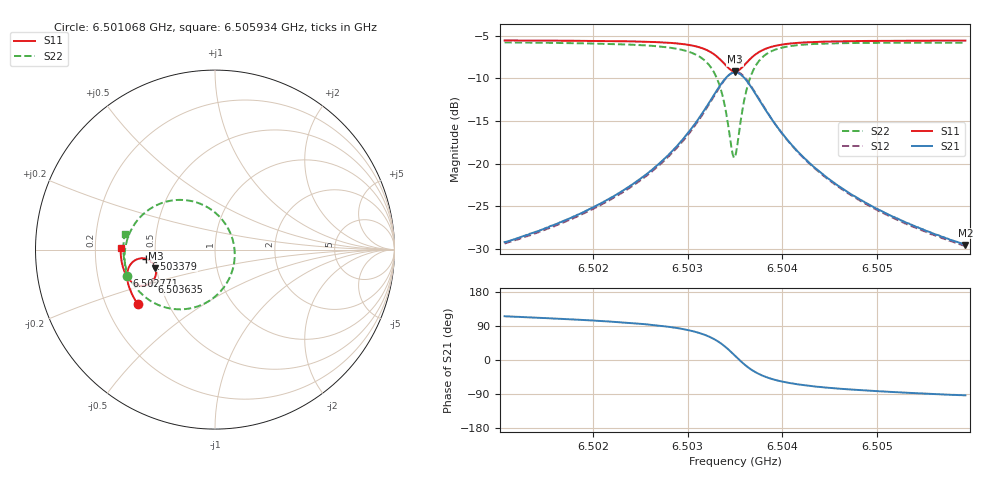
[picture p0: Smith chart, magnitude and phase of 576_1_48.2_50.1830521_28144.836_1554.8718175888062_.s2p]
#  HZ  S  RI  R  50.00
! Rohde & Schwarz Vector Network Analyzer
! Rohde-Schwarz,ZNB20-2Port,1311601062101988,3.16
! Created: UTC 3/20/2024, 12:01:53 PM
! freq[Hz]  re:S11  im:S11  re:S21  im:S21  re:S12  im:S12  re:S22  im:S22
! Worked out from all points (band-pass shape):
!   401 points, 6.501068 GHz to 6.505934 GHz, reference 50 ohm
!   highest |S21| = -9.31 dB at 6.503501 GHz (marker M1); lowest = -29.5 dB at 6.505934 GHz (marker M2)
!   |S21| within 3 dB of the highest: 6.503258 GHz to 6.503745 GHz (486.5 kHz wide, 0.00748 % of centre)
!   lowest |S11| = -9.2 dB at 6.503501 GHz (marker M3), VSWR 2.06, Z = 24.7 - j5.74 ohm
!   |S11| at or under -10 dB: nowhere
!   |S22| runs from -19.3 to -5.8 dB; largest |S21 - S12| = 0.012
!   S11 on the Smith chart (normalised r, x): 6.501068 GHz: 0.34, -0.28; 6.502771 GHz: 0.33, -0.13; 6.503379 GHz: 0.44, -0.05; 6.503635 GHz: 0.45, -0.19; 6.505934 GHz: 0.31, +0.01
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6.5010683e9  -0.4316 -0.3023  -0.0149 0.0313  -0.013 0.0313  -0.4925 -0.1451
6.5018833e9  -0.4659 -0.2411  -0.0139 0.0496  -0.0116 0.0491  -0.5038 -0.0565
6.5023455e9  -0.4817 -0.1992  -0.0105 0.0703  -0.00763 0.0691  -0.4993 0.0113
6.5026983e9  -0.4894 -0.159  -0.00131 0.0998  0.00231 0.0976  -0.4787 0.0848
6.5027713e9  -0.49 -0.1489  0.00269 0.1088  0.00641 0.106  -0.4699 0.1044
6.5029781e9  -0.4861 -0.1156  0.0243 0.1427  0.0279 0.1386  -0.4251 0.1719
6.5031362e9  -0.4711 -0.0833  0.0641 0.179  0.0667 0.1733  -0.3478 0.2357
6.5032822e9  -0.433 -0.0535  0.1463 0.2081  0.147 0.202  -0.198 0.2771
6.5033308e9  -0.4115 -0.0487  0.1891 0.2065  0.1893 0.2013  -0.1228 0.2685
6.5033795e9  -0.386 -0.0507  0.2385 0.1915  0.2387 0.1869  -0.0385 0.234
6.5034646e9  -0.3426 -0.0802  0.3177 0.1163  0.3201 0.1125  0.0881 0.0862
6.5035011e9  -0.3316 -0.1024  0.3356 0.0671  0.3394 0.062  0.1093 -0.00622
6.5035254e9  -0.3285 -0.1188  0.3393 0.0322  0.3433 0.0257  0.1072 -0.0702
6.5035619e9  -0.3306 -0.1433  0.3319 -0.0186  0.3357 -0.0272  0.0799 -0.1603
6.5036349e9  -0.353 -0.1809  0.2847 -0.0959  0.2851 -0.1074  -0.0311 -0.285
6.5037444e9  -0.399 -0.2015  0.1968 -0.1419  0.1917 -0.1517  -0.2092 -0.3325
6.5039025e9  -0.4468 -0.1922  0.112 -0.138  0.1049 -0.1434  -0.3622 -0.2839
6.5040728e9  -0.4749 -0.1707  0.066 -0.1167  0.0595 -0.1193  -0.4367 -0.2167
6.5043161e9  -0.4961 -0.1408  0.0351 -0.0912  0.03 -0.0919  -0.4811 -0.1428
6.504681e9  -0.5118 -0.1019  0.0154 -0.0671  0.0121 -0.0667  -0.5043 -0.067
6.505131e9  -0.5213 -0.0598  0.00521 -0.0498  0.00289 -0.0492  -0.5106 -0.00118
6.5059339e9  -0.5264 0.00884  -0.00193 -0.0334  -0.00332 -0.0327  -0.5034 0.0855
